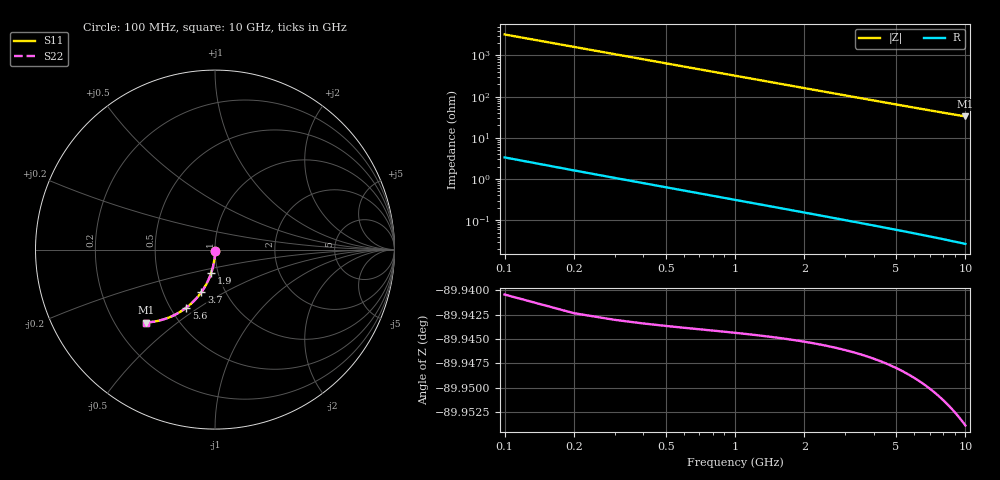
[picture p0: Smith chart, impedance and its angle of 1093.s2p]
# Hz S RI R 50.00
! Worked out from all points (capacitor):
!   100 points, 100 MHz to 10 GHz, reference 50 ohm
!   read as one part in shunt: C = 493 fF near 100 MHz
!   lowest |Z| = 33.2 ohm at 10 GHz (marker M1)
!   S11 on the Smith chart (normalised r, x): 100 MHz: 1.00, -0.01; 1.9 GHz: 0.93, -0.24; 3.7 GHz: 0.77, -0.39; 5.6 GHz: 0.60, -0.45; 10 GHz: 0.33, -0.39
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1e8  0.000144 -0.00695  0.9997 -0.00853  0.9997 -0.00853  0.000144 -0.00695
2e8  -4e-05 -0.0139  0.9995 -0.0171  0.9995 -0.0171  -4e-05 -0.0139
3e8  -0.000343 -0.0208  0.9992 -0.0256  0.9992 -0.0256  -0.000343 -0.0208
4e8  -0.000764 -0.0278  0.9988 -0.0341  0.9988 -0.0341  -0.000764 -0.0278
5e8  -0.0013 -0.0347  0.9982 -0.0426  0.9982 -0.0426  -0.0013 -0.0347
6e8  -0.00196 -0.0416  0.9976 -0.0511  0.9976 -0.0511  -0.00196 -0.0416
8e8  -0.00363 -0.0554  0.9959 -0.068  0.9959 -0.068  -0.00363 -0.0554
9e8  -0.00464 -0.0623  0.9948 -0.0765  0.9948 -0.0765  -0.00464 -0.0623
1.1e9  -0.007 -0.0759  0.9924 -0.0933  0.9924 -0.0933  -0.007 -0.0759
1.4e9  -0.0114 -0.0962  0.9879 -0.1183  0.9879 -0.1183  -0.0114 -0.0962
1.8e9  -0.0188 -0.1227  0.9803 -0.1512  0.9803 -0.1512  -0.0188 -0.1227
1.9e9  -0.021 -0.1293  0.9781 -0.1593  0.9781 -0.1593  -0.021 -0.1293
2.2e9  -0.028 -0.1486  0.971 -0.1834  0.971 -0.1834  -0.028 -0.1486
2.6e9  -0.0388 -0.1735  0.9599 -0.2147  0.9599 -0.2147  -0.0388 -0.1735
3.4e9  -0.0649 -0.2205  0.9332 -0.2745  0.9332 -0.2745  -0.0649 -0.2205
3.7e9  -0.076 -0.2369  0.9218 -0.2957  0.9218 -0.2957  -0.076 -0.2369
4.4e9  -0.1047 -0.2725  0.8924 -0.3425  0.8924 -0.3425  -0.1047 -0.2725
5.1e9  -0.1362 -0.3038  0.86 -0.3852  0.86 -0.3852  -0.1362 -0.3038
5.6e9  -0.1602 -0.3236  0.8353 -0.4131  0.8353 -0.4131  -0.1602 -0.3236
6.7e9  -0.2158 -0.3592  0.7779 -0.4668  0.7779 -0.4668  -0.2158 -0.3592
8.4e9  -0.3044 -0.3937  0.6858 -0.5296  0.6858 -0.5296  -0.3044 -0.3937
1e10  -0.3855 -0.4062  0.6006 -0.5693  0.6006 -0.5693  -0.3855 -0.4062
